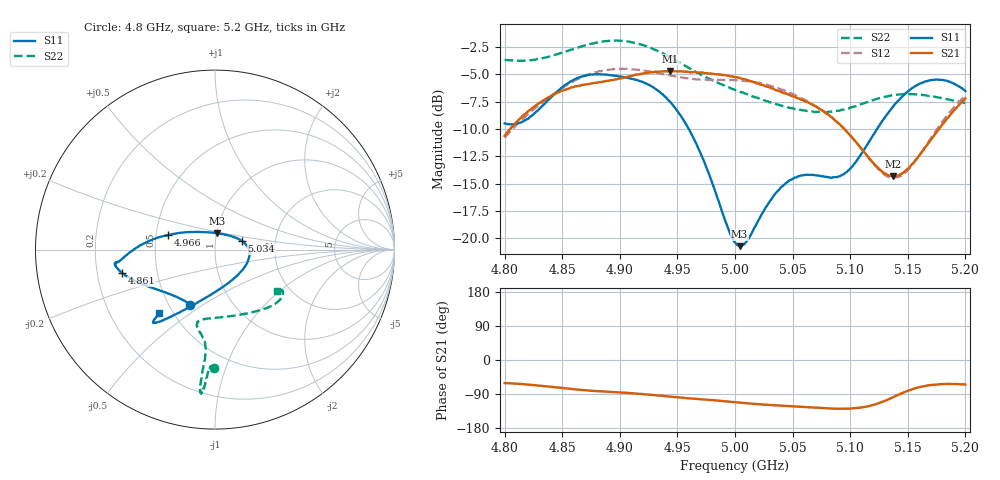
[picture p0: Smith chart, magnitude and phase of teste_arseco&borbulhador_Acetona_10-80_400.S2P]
! Network Analyzer HP8722D
! Hewlett-Packard
! Data name: Linha & Wilkinson
! Saver's name: Rodrigo Anjos
! Comments: Teste da utilização de aquisição
! continua pelo VNA HP8722D
! Time and date: 17/4/2025 17:41
!  Frequency  S11  S21  S12  S22
# HZ  S  MA R 50
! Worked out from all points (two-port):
!   401 points, 4.8 GHz to 5.2 GHz, reference 50 ohm
!   highest |S21| = -4.69 dB at 4.944 GHz (marker M1); lowest = -14.3 dB at 5.137 GHz (marker M2)
!   |S21| within 3 dB of the highest: 4.829 GHz to 5.066 GHz (236.5 MHz wide, 4.78 % of centre); 5.195234 GHz to end of sweep
!   lowest |S11| = -20.7 dB at 5.004 GHz (marker M3), VSWR 1.20, Z = 50.1 + j9.23 ohm
!   |S11| at or under -10 dB: 4.96 GHz to 5.123 GHz (163.4 MHz wide, 3.24 % of centre)
!   |S22| runs from -8.5 to -1.9 dB; largest |S21 - S12| = 0.87
!   S11 on the Smith chart (normalised r, x): 4.8 GHz: 0.64, -0.44; 4.861 GHz: 0.31, -0.11; 4.966 GHz: 0.58, +0.10; 5.034 GHz: 1.34, +0.13; 5.2 GHz: 0.42, -0.39
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4.8e9  0.3357 -114.1  0.2943 -61.0  0.2889 -175.2  0.6574 -90.3
4.819e9  0.3503 -134.1  0.3751 -64.5  0.3637 -174.0  0.6524 -91.9
4.861e9  0.5348 -165.9  0.4956 -77.4  0.5276 -177.4  0.7384 -94.2
4.867e9  0.5499 -168.4  0.5036 -79.2  0.5461 -178.4  0.7563 -94.2
4.898e9  0.5533 -172.6  0.5357 -85.2  0.5954 175.5  0.8042 -95.5
4.934e9  0.4713 -178.5  0.579 -94.0  0.5712 171.5  0.7144 -96.0
4.944e9  0.4199 176.9  0.5826 -96.8  0.5561 171.7  0.6712 -95.9
4.966e9  0.2734 162.6  0.5762 -102.3  0.5345 173.4  0.5774 -95.1
5e9  0.09576 98.8  0.5462 -111.5  0.5304 175.7  0.4774 -99.2
5.004e9  0.09189 84.3  0.5426 -112.4  0.5289 175.9  0.47 -100.1
5.011e9  0.09803 59.8  0.5301 -114.5  0.5245 175.6  0.4558 -101.8
5.034e9  0.1574 17.9  0.4805 -119.2  0.4931 174.4  0.4138 -103.2
5.05e9  0.1868 1.8  0.4474 -122.2  0.4578 173.7  0.394 -99.2
5.067e9  0.195 -16.5  0.4096 -125.3  0.4109 173.3  0.3806 -90.1
5.085e9  0.19 -45.0  0.3538 -128.4  0.353 173.5  0.3813 -76.7
5.097e9  0.2008 -69.1  0.3075 -128.6  0.3083 174.7  0.3915 -66.9
5.134e9  0.3809 -117.6  0.1933 -102.7  0.1898 -155.6  0.4489 -43.0
5.137e9  0.3996 -119.3  0.192 -98.6  0.1887 -150.8  0.4518 -41.8
5.15e9  0.4696 -125.1  0.208 -81.4  0.2047 -131.0  0.457 -36.9
5.168e9  0.5271 -129.3  0.273 -67.1  0.2769 -113.4  0.448 -32.5
5.184e9  0.5251 -130.8  0.3533 -63.2  0.364 -107.5  0.4332 -31.2
5.2e9  0.4719 -131.0  0.4366 -64.9  0.4484 -106.9  0.4159 -33.6
